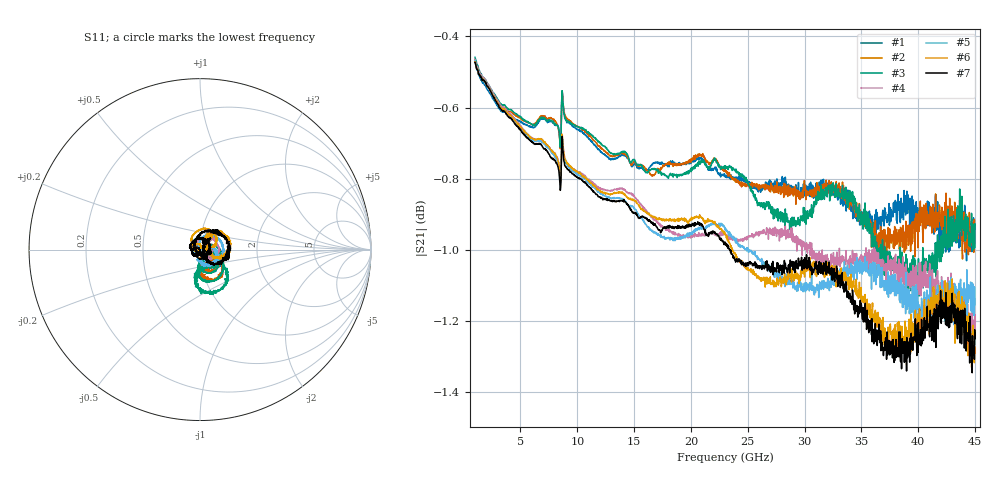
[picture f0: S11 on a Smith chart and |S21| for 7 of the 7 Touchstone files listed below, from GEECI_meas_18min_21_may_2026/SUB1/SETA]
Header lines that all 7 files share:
!Keysight Technologies,N5247B,MY61255062,A.19.80.06
!Correction: S11(Cdelta 2-Port  )
!S21(Cdelta 2-Port  )
!S12(Cdelta 2-Port  )
!S22(Cdelta 2-Port  )
!S2P File: Measurements: S11, S21, S12, S22:
# Hz S  dB  R 50
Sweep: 1 GHz to 45 GHz
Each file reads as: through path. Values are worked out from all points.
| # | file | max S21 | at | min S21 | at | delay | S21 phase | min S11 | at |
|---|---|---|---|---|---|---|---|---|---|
| 1 | thru1.s2p | -0.47 dB | 1 GHz | -1.0 dB | 44.26 GHz | 50.2 ps | -56 deg at 23 GHz | -33.5 dB | 10.85 GHz |
| 2 | thru2.s2p | -0.46 dB | 1 GHz | -1.0 dB | 37.02 GHz | 49.9 ps | -54 deg at 23 GHz | -30.8 dB | 11.01 GHz |
| 3 | thru3.s2p | -0.46 dB | 1 GHz | -1.1 dB | 40.08 GHz | 49.6 ps | -51 deg at 23 GHz | -29.2 dB | 11.72 GHz |
| 4 | TN1_trace_len2060.s2p | -0.47 dB | 1 GHz | -1.2 dB | 44.78 GHz | 56 ps | -105 deg at 23 GHz | -60.1 dB | 11.86 GHz |
| 5 | TN2_trace_len1560.s2p | -0.47 dB | 1 GHz | -1.2 dB | 40.05 GHz | 56.1 ps | -107 deg at 23 GHz | -44.8 dB | 23.63 GHz |
| 6 | TN3_trace_len1060.s2p | -0.47 dB | 1 GHz | -1.3 dB | 44.7 GHz | 56.2 ps | -107 deg at 23 GHz | -44.1 dB | 19.56 GHz |
| 7 | TN6_trace_len_1060.s2p | -0.47 dB | 1 GHz | -1.3 dB | 44.75 GHz | 56.6 ps | -110 deg at 23 GHz | -60.2 dB | 17.91 GHz |
